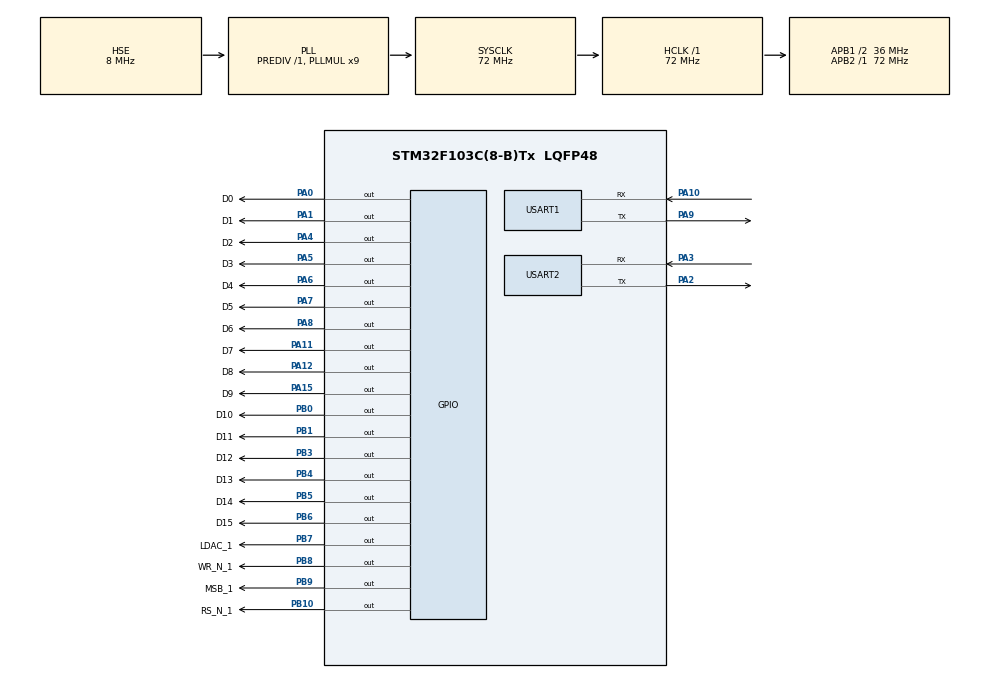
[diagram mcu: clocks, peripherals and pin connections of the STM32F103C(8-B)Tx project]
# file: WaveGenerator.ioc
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Mcu.Family=STM32F1
Mcu.Name=STM32F103C(8-B)Tx
Mcu.Package=LQFP48
NVIC.PriorityGroup=NVIC_PRIORITYGROUP_4
NVIC.TIM1_BRK_IRQn=true\:1\:0\:true\:true\:true\:1\:true
NVIC.USART1_IRQn=true\:1\:0\:true\:true\:true\:2\:true
NVIC.USART2_IRQn=true\:0\:0\:false\:true\:true\:3\:true
PA0-WKUP.GPIO_Label=D0
PA0-WKUP.GPIO_Speed=GPIO_SPEED_FREQ_HIGH
PA0-WKUP.Signal=GPIO_Output
PA1.GPIO_Label=D1
PA1.GPIO_ModeDefaultOutputPP=GPIO_MODE_OUTPUT_PP
PA1.GPIO_Speed=GPIO_SPEED_FREQ_HIGH
PA1.PinState=GPIO_PIN_RESET
PA1.Signal=GPIO_Output
PA10.Mode=Asynchronous
PA10.Signal=USART1_RX
PA11.GPIO_Label=D7
PA11.GPIO_ModeDefaultOutputPP=GPIO_MODE_OUTPUT_PP
PA11.GPIO_Speed=GPIO_SPEED_FREQ_HIGH
PA11.PinState=GPIO_PIN_RESET
PA11.Signal=GPIO_Output
PA12.GPIO_Label=D8
PA12.GPIO_Speed=GPIO_SPEED_FREQ_HIGH
PA12.Signal=GPIO_Output
PA15.GPIO_Label=D9
PA15.GPIO_Speed=GPIO_SPEED_FREQ_HIGH
PA15.Signal=GPIO_Output
PA2.Mode=Asynchronous
PA2.Signal=USART2_TX
PA3.Mode=Asynchronous
PA3.Signal=USART2_RX
PA4.GPIO_Label=D2
PA4.GPIO_ModeDefaultOutputPP=GPIO_MODE_OUTPUT_PP
PA4.GPIO_Speed=GPIO_SPEED_FREQ_HIGH
PA4.PinState=GPIO_PIN_RESET
PA4.Signal=GPIO_Output
PA5.GPIO_Label=D3
PA5.GPIO_ModeDefaultOutputPP=GPIO_MODE_OUTPUT_PP
PA5.GPIO_Speed=GPIO_SPEED_FREQ_HIGH
PA5.PinState=GPIO_PIN_RESET
PA5.Signal=GPIO_Output
PA6.GPIO_Label=D4
PA6.GPIO_ModeDefaultOutputPP=GPIO_MODE_OUTPUT_PP
PA6.GPIO_Speed=GPIO_SPEED_FREQ_HIGH
PA6.PinState=GPIO_PIN_RESET
PA6.Signal=GPIO_Output
PA7.GPIO_Label=D5
PA7.GPIO_ModeDefaultOutputPP=GPIO_MODE_OUTPUT_PP
PA7.GPIO_Speed=GPIO_SPEED_FREQ_HIGH
PA7.PinState=GPIO_PIN_RESET
PA7.Signal=GPIO_Output
PA8.GPIO_Label=D6
PA8.GPIO_Speed=GPIO_SPEED_FREQ_HIGH
PA8.Signal=GPIO_Output
PA9.Mode=Asynchronous
PA9.Signal=USART1_TX
PB0.GPIO_Label=D10
PB0.GPIO_ModeDefaultOutputPP=GPIO_MODE_OUTPUT_PP
PB0.GPIO_Speed=GPIO_SPEED_FREQ_HIGH
PB0.PinState=GPIO_PIN_RESET
PB0.Signal=GPIO_Output
PB1.GPIO_Label=D11
PB1.GPIO_ModeDefaultOutputPP=GPIO_MODE_OUTPUT_PP
PB1.GPIO_Speed=GPIO_SPEED_FREQ_HIGH
PB1.PinState=GPIO_PIN_RESET
PB1.Signal=GPIO_Output
PB10.GPIO_Label=RS_N_1
PB10.GPIO_ModeDefaultOutputPP=GPIO_MODE_OUTPUT_PP
PB10.GPIO_Speed=GPIO_SPEED_FREQ_HIGH
PB10.PinState=GPIO_PIN_SET
PB10.Signal=GPIO_Output
PB3.GPIO_Label=D12
PB3.GPIO_Speed=GPIO_SPEED_FREQ_HIGH
PB3.Signal=GPIO_Output
PB4.GPIO_Label=D13
PB4.GPIO_Speed=GPIO_SPEED_FREQ_HIGH
PB4.Signal=GPIO_Output
PB5.GPIO_Label=D14
PB5.GPIO_Speed=GPIO_SPEED_FREQ_HIGH
PB5.Signal=GPIO_Output
PB6.GPIO_Label=D15
PB6.GPIO_Speed=GPIO_SPEED_FREQ_HIGH
PB6.Signal=GPIO_Output
PB7.GPIO_Label=LDAC_1
PB7.GPIO_Speed=GPIO_SPEED_FREQ_HIGH
PB7.Signal=GPIO_Output
PB8.GPIO_Label=WR_N_1
PB8.GPIO_Speed=GPIO_SPEED_FREQ_HIGH
PB8.PinState=GPIO_PIN_SET
PB8.Signal=GPIO_Output
PB9.GPIO_Label=MSB_1
PB9.GPIO_Speed=GPIO_SPEED_FREQ_HIGH
PB9.Signal=GPIO_Output
PD0-OSC_IN.Mode=HSE-External-Oscillator
PD0-OSC_IN.Signal=RCC_OSC_IN
PD1-OSC_OUT.Mode=HSE-External-Oscillator
PD1-OSC_OUT.Signal=RCC_OSC_OUT
ProjectManager.HeapSize=0x200
ProjectManager.StackSize=0x400
ProjectManager.TargetToolchain=MDK-ARM V5
RCC.AHBFreq_Value=72000000
RCC.APB1CLKDivider=RCC_HCLK_DIV2
RCC.APB1Freq_Value=36000000
RCC.APB1TimFreq_Value=72000000
RCC.APB2Freq_Value=72000000
RCC.APB2TimFreq_Value=72000000
RCC.HCLKFreq_Value=72000000
RCC.PLLMUL=RCC_PLL_MUL9
RCC.PLLSourceVirtual=RCC_PLLSOURCE_HSE
RCC.SYSCLKFreq_VALUE=72000000
RCC.SYSCLKSource=RCC_SYSCLKSOURCE_PLLCLK
RCC.USBFreq_Value=72000000
TIM1.AutoReloadPreload=TIM_AUTORELOAD_PRELOAD_ENABLE
TIM1.Period=500
TIM1.Prescaler=35
USART1.VirtualMode=VM_ASYNC
USART2.VirtualMode=VM_ASYNC
VP_IWDG_VS_IWDG.Mode=IWDG_Activate
VP_SYS_VS_ND.Mode=No_Debug
VP_TIM1_VS_ClockSourceINT.Mode=Internal
board=WaveGenerator

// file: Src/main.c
/**
  ******************************************************************************
  * @file           : main.c
  * @brief          : Main program body
  ******************************************************************************
  ** This notice applies to any and all portions of this file
  * that are not between comment pairs USER CODE BEGIN and
  * USER CODE END. Other portions of this file, whether
  * inserted by the user or by software development tools
  * are owned by their respective copyright owners.
  *
  * COPYRIGHT(c) 2018 STMicroelectronics
  *
  * Redistribution and use in source and binary forms, with or without modification,
  * are permitted provided that the following conditions are met:
  *   1. Redistributions of source code must retain the above copyright notice,
  *      this list of conditions and the following disclaimer.
  *   2. Redistributions in binary form must reproduce the above copyright notice,
  *      this list of conditions and the following disclaimer in the documentation
  *      and/or other materials provided with the distribution.
  *   3. Neither the name of STMicroelectronics nor the names of its contributors
  *      may be used to endorse or promote products derived from this software
  *      without specific prior written permission.
  *
  * THIS SOFTWARE IS PROVIDED BY THE COPYRIGHT HOLDERS AND CONTRIBUTORS "AS IS"
  * AND ANY EXPRESS OR IMPLIED WARRANTIES, INCLUDING, BUT NOT LIMITED TO, THE
  * IMPLIED WARRANTIES OF MERCHANTABILITY AND FITNESS FOR A PARTICULAR PURPOSE ARE
  * DISCLAIMED. IN NO EVENT SHALL THE COPYRIGHT HOLDER OR CONTRIBUTORS BE LIABLE
  * FOR ANY DIRECT, INDIRECT, INCIDENTAL, SPECIAL, EXEMPLARY, OR CONSEQUENTIAL
  * DAMAGES (INCLUDING, BUT NOT LIMITED TO, PROCUREMENT OF SUBSTITUTE GOODS OR
  * SERVICES; LOSS OF USE, DATA, OR PROFITS; OR BUSINESS INTERRUPTION) HOWEVER
  * CAUSED AND ON ANY THEORY OF LIABILITY, WHETHER IN CONTRACT, STRICT LIABILITY,
  * OR TORT (INCLUDING NEGLIGENCE OR OTHERWISE) ARISING IN ANY WAY OUT OF THE USE
  * OF THIS SOFTWARE, EVEN IF ADVISED OF THE POSSIBILITY OF SUCH DAMAGE.
  *
  ******************************************************************************
  */
#include "main.h"
#include "stm32f1xx_hal.h"
#include "iwdg.h"
#include "tim.h"
#include "usart.h"
#include "gpio.h"

/* USER CODE BEGIN Includes */
#include "sinwave.h"
#include "ad5556.h"
#include "string.h"
/* USER CODE END Includes */

#define MASTER_DEVICE 1
//#define SLAVE_DEVICE 1

/* USER CODE BEGIN PV */
/* Private variables ---------------------------------------------------------*/
uint8_t RxBuffer[8];
__IO ITStatus UartReady = RESET;
__IO ITStatus Uart2Ready = RESET;
/* USER CODE END PV */

void SystemClock_Config(void);
static void MX_NVIC_Init(void);
void AD_Data_Process(void);
/* USER CODE BEGIN PFP */
/* Private function prototypes -----------------------------------------------*/

/* USER CODE END PFP */

int main(void)
{

  /* MCU Configuration----------------------------------------------------------*/

  /* Reset of all peripherals, Initializes the Flash interface and the Systick. */
  HAL_Init();

  /* Configure the system clock */
  SystemClock_Config();

  /* Initialize all configured peripherals */
  MX_GPIO_Init();
  MX_TIM1_Init();
  MX_IWDG_Init();
  MX_USART1_UART_Init();
  MX_USART2_UART_Init();

  /* Initialize interrupts */
  MX_NVIC_Init();
  /* USER CODE BEGIN 2 */
  REVERSE_DELAY();

	AD_SET_RS();
	AD_RESET_LDAC();
	AD_SET_WR();
  /* USER CODE END 2 */

  /* Infinite loop */
  /* USER CODE BEGIN WHILE */
  while (1)
  {
		if(HAL_UART_Receive_IT(&huart1, (uint8_t *)RxBuffer, 8) != HAL_OK)
		{
		}

		while (UartReady != SET)
		{
		}
		UartReady = RESET;
#ifdef MASTER_DEVICE
		/*****************Send Msg To Usart2*********************/
		if(HAL_UART_Transmit_IT(&huart2, (uint8_t*)RxBuffer, 8)!= HAL_OK)
		{
		}

		while (Uart2Ready != SET)
		{
		}
		Uart2Ready = RESET;
		/*****************Send Msg To Usart2*********************/
#endif
		AD_Data_Process();
		memset(&RxBuffer,0,sizeof(uint8_t)*8);
  }
  /* USER CODE END WHILE */

}

void SystemClock_Config(void)
{

  RCC_OscInitTypeDef RCC_OscInitStruct;
  RCC_ClkInitTypeDef RCC_ClkInitStruct;

    /**Initializes the CPU, AHB and APB busses clocks
    */
  RCC_OscInitStruct.OscillatorType = RCC_OSCILLATORTYPE_LSI|RCC_OSCILLATORTYPE_HSE;
  RCC_OscInitStruct.HSEState = RCC_HSE_ON;
  RCC_OscInitStruct.HSEPredivValue = RCC_HSE_PREDIV_DIV1;
  RCC_OscInitStruct.HSIState = RCC_HSI_ON;
  RCC_OscInitStruct.LSIState = RCC_LSI_ON;
  RCC_OscInitStruct.PLL.PLLState = RCC_PLL_ON;
  RCC_OscInitStruct.PLL.PLLSource = RCC_PLLSOURCE_HSE;
  RCC_OscInitStruct.PLL.PLLMUL = RCC_PLL_MUL9;
  if (HAL_RCC_OscConfig(&RCC_OscInitStruct) != HAL_OK)
  {
    _Error_Handler(__FILE__, __LINE__);
  }

    /**Initializes the CPU, AHB and APB busses clocks
    */
  RCC_ClkInitStruct.ClockType = RCC_CLOCKTYPE_HCLK|RCC_CLOCKTYPE_SYSCLK
                              |RCC_CLOCKTYPE_PCLK1|RCC_CLOCKTYPE_PCLK2;
  RCC_ClkInitStruct.SYSCLKSource = RCC_SYSCLKSOURCE_PLLCLK;
  RCC_ClkInitStruct.AHBCLKDivider = RCC_SYSCLK_DIV1;
  RCC_ClkInitStruct.APB1CLKDivider = RCC_HCLK_DIV2;
  RCC_ClkInitStruct.APB2CLKDivider = RCC_HCLK_DIV1;

  if (HAL_RCC_ClockConfig(&RCC_ClkInitStruct, FLASH_LATENCY_2) != HAL_OK)
  {
    _Error_Handler(__FILE__, __LINE__);
  }

    /**Configure the Systick interrupt time
    */
  HAL_SYSTICK_Config(HAL_RCC_GetHCLKFreq()/1000);

    /**Configure the Systick
    */
  HAL_SYSTICK_CLKSourceConfig(SYSTICK_CLKSOURCE_HCLK);

  /* SysTick_IRQn interrupt configuration */
  HAL_NVIC_SetPriority(SysTick_IRQn, 0, 0);
}

/**
  * @brief NVIC Configuration.
  * @retval None
  */
static void MX_NVIC_Init(void)
{
  /* TIM1_BRK_IRQn interrupt configuration */
  HAL_NVIC_SetPriority(TIM1_BRK_IRQn, 1, 0);
  HAL_NVIC_EnableIRQ(TIM1_BRK_IRQn);
  /* USART1_IRQn interrupt configuration */
  HAL_NVIC_SetPriority(USART1_IRQn, 1, 0);
  HAL_NVIC_EnableIRQ(USART1_IRQn);
  /* USART2_IRQn interrupt configuration */
  HAL_NVIC_SetPriority(USART2_IRQn, 0, 0);
  HAL_NVIC_EnableIRQ(USART2_IRQn);
}

/* USER CODE BEGIN 4 */
/**
  * @brief  Rx Transfer completed callbacks.
  * @param  huart: pointer to a UART_HandleTypeDef structure that contains
  *                the configuration information for the specified UART module.
  * @retval None
  */
void AD_Data_Process(void)
{
	uint16_t AD_data = 0;
	if(RxBuffer[0] != COEFFICIENT)
	{
		// ERROR PROCESS
	}
	else
	{
		if(RxBuffer[1] & IN_PHASE_MASK)
		{
			// todo
		}
		else if(RxBuffer[1] & REVERSE_PHASE_MASK)
		{
			// todo
		}
		else
		{
			// todo
		}

		AD_data = RxBuffer[2] + (uint16_t)((RxBuffer[3] & BIT_8_MASK)<<8);

		if(RxBuffer[6] & CHANNEL1_MASK)
		{
#ifdef MASTER_DEVICE
			AD_WRITE(AD_data);
#endif
		}
		else if(RxBuffer[6] & CHANNEL2_MASK)
		{
#ifdef SLAVE_DEVICE
			AD_WRITE(AD_data);
#endif
		}
		else
		{
			// ERROR PROCESS
		}
	}
}
/**
  * @brief  Tx Transfer completed callback
  * @param  UartHandle: UART handle.
  * @note   This example shows a simple way to report end of IT Tx transfer, and
  *         you can add your own implementation.
  * @retval None
  */
void HAL_UART_TxCpltCallback(UART_HandleTypeDef *UartHandle)
{
  /* Set transmission flag: transfer complete */
	if(UartHandle->Instance == USART1)
	{
		UartReady = SET;
	}
  else if (UartHandle->Instance == USART2)
	{
		Uart2Ready = SET;
	}
	else
	{
		// ERROR USART
	}
}

/**
  * @brief  Rx Transfer completed callback
  * @param  UartHandle: UART handle
  * @note   This example shows a simple way to report end of DMA Rx transfer, and
  *         you can add your own implementation.
  * @retval None
  */
void HAL_UART_RxCpltCallback(UART_HandleTypeDef *UartHandle)
{
  /* Set transmission flag: transfer complete */
	if(UartHandle->Instance == USART1)
	{
		UartReady = SET;
	}
  else if (UartHandle->Instance == USART2)
	{
		Uart2Ready = SET;
	}
	else
	{
		// ERROR USART
	}
}
/* USER CODE END 4 */

void _Error_Handler(char *file, int line)
{
  while(1)
  {
  }
}

/************************ (C) COPYRIGHT STMicroelectronics *****END OF FILE****/
